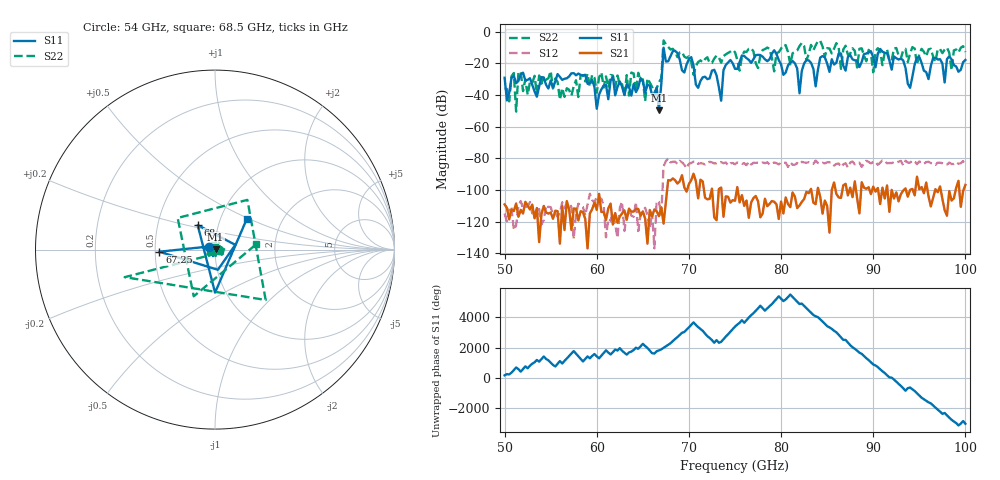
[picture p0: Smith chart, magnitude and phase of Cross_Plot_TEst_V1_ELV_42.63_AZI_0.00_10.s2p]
! 11/25/2026 1:21:05 PM
! C:\ANRITSUVNA\TEMP\TEMP.S2P
! CHANNEL.1
! TR.MEASUREMENT
! RAW.DATA
# HZ S RI R 50.0
! FREQ.HZ  S11RE  S11IM  S21RE  S21IM  S12RE  S12IM  S22RE  S22IM
!; PortSelection: Port_12
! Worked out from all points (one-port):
!   201 points, 50 GHz to 100 GHz, reference 50 ohm
!   lowest |S11| = -49.7 dB at 66.75 GHz (marker M1), VSWR 1.01, Z = 50.3 + j0.0706 ohm
!   |S11| at or under -10 dB: start of sweep to end of sweep
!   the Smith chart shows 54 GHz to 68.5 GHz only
!   S11 on the Smith chart (normalised r, x): 54 GHz: 0.93, +0.03; 67.25 GHz: 0.53, -0.01; 68 GHz: 0.80, +0.22; 68.5 GHz: 1.33, +0.49
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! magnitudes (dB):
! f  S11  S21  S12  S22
! 50 GHz  -29.1  -109.2  -114.9  -35.8
! 51 GHz  -27.9  -113.4  -125.4  -26.2
! 51.25 GHz  -32.6  -108.6  -122.4  -50.5
! 51.5 GHz  -31.2  -117.0  -110.2  -25.7
! 54 GHz  -28.7  -115.1  -121.9  -32.9
! 58.5 GHz  -27.6  -114.0  -110.9  -27.7
! 60 GHz  -48.8  -112.6  -104.2  -38.6
! 61.75 GHz  -28.4  -121.9  -114.4  -27.7
! 66.75 GHz  -49.7  -116.6  -107.7  -31.9
! 67.25 GHz  -10.2  -121.3  -85.3  -5.6
! 68 GHz  -15.5  -94.1  -82.7  -11.3
! 68.5 GHz  -12.1  -93.9  -82.2  -12.7
! 73.5 GHz  -43.7  -98.6  -82.4  -19.7
! 73.75 GHz  -24.3  -117.0  -83.2  -15.4
! 75 GHz  -23.5  -106.9  -83.8  -13.0
! 79.25 GHz  -11.8  -107.5  -82.6  -25.1
! 82 GHz  -39.0  -109.9  -83.8  -9.1
! 83.5 GHz  -23.4  -108.1  -83.6  -11.8
! 91.75 GHz  -18.2  -113.9  -83.0  -17.6
! 94 GHz  -35.5  -100.0  -82.8  -13.7
! 94.75 GHz  -16.4  -91.7  -83.8  -20.9
! 100 GHz  -17.9  -96.8  -84.3  -12.9
